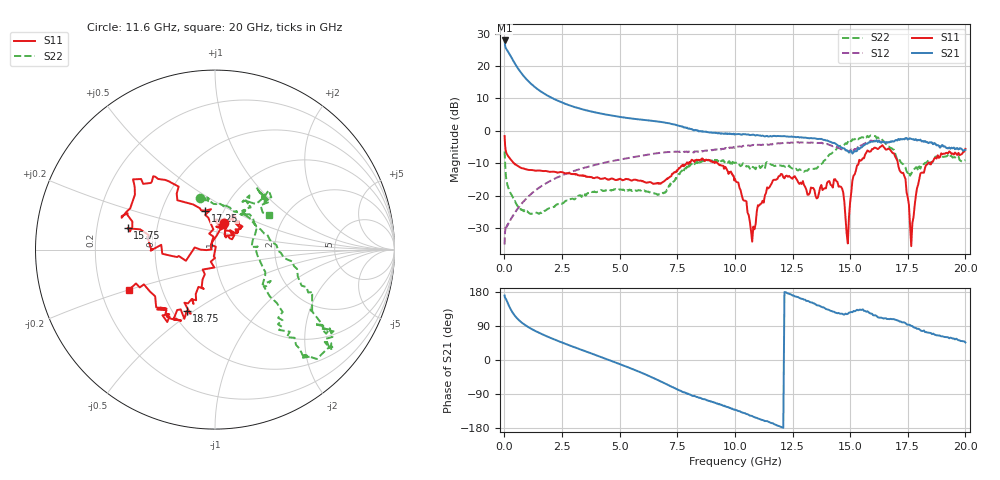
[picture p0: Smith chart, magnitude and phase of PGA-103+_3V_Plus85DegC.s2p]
!Mini-Circuits Laboratory
!S-Parameters, Port extension performed
!Model: PGA-103+
!Run / Lot / Date Code: N/A / BP170-001-01-101EV / 1210
!Fixture: TB-313
!Network Analyzer: PNA-X N5242A - 423 4 ports;  Serial number: 71013
!Date: 5/23/2012 at 10:40:37 AM
!S/N: Unit# 1
!Tested with: VDD=3V AT +85C
# Hz  S  dB  R  50
!Frequency  S11 dB  S11 Deg  S21 dB  S21 Deg  S12 dB  S12 Deg  S22 dB  S22 Deg
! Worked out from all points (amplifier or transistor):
!   660 points, 10 MHz to 20 GHz, reference 50 ohm
!   highest |S21| = 27.9 dB at 10 MHz (marker M1)
!   |S21| within 3 dB of that: start of sweep to 118.4 MHz
!   unconditionally stable (mu >= 1): 311 MHz to 15.21 GHz; 16.75 GHz to end of sweep
!   at 1.275 GHz: K = 1.10, MAG = 14.4 dB, |S12| = -18.8 dB
!   at 6.775 GHz: K = 1.07, MAG = 3.2 dB, |S12| = -6.7 dB
!   at 20 GHz: K = 1.50, MAG = -4.1 dB, |S12| = -5.9 dB
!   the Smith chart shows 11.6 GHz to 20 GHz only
!   S11 on the Smith chart (normalised r, x): 11.6 GHz: 1.05, +0.32; 15.75 GHz: 0.34, +0.11; 17.25 GHz: 0.82, +0.37; 18.75 GHz: 0.59, -0.47; 20 GHz: 0.32, -0.20
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1e7  -1.57 -17.3  27.88 170.0  -35.01 70.3  -6.31 -22.1
5e7  -5.65 -32.0  25.74 162.8  -29.50 28.1  -12.43 -43.3
7e7  -6.41 -33.4  25.39 160.9  -29.75 24.3  -14.09 -42.9
2e8  -8.11 -57.7  23.95 142.7  -28.30 31.3  -18.10 -45.4
3.4e8  -9.38 -81.8  22.20 126.8  -26.56 39.4  -20.11 -53.1
5.2e8  -10.50 -106.5  20.02 112.0  -24.49 45.8  -22.61 -55.7
7.6e8  -11.50 -130.1  17.59 98.3  -22.32 49.9  -24.32 -63.4
1.125e9  -12.03 -152.2  14.74 83.7  -19.66 51.0  -25.57 -65.9
1.7e9  -12.38 -174.1  11.61 66.3  -16.61 47.3  -24.96 -78.1
3.35e9  -13.81 150.0  6.69 26.5  -11.63 24.7  -20.35 -95.4
6.675e9  -16.26 58.6  2.88 -53.4  -6.82 -42.4  -19.53 173.1
1.005e10  -15.68 -74.4  -1.01 -132.2  -4.98 -121.7  -9.84 74.4
1.075e10  -34.13 -9.6  -1.19 -147.8  -4.38 -138.5  -11.07 88.5
1.16e10  -16.13 71.4  -1.73 -166.6  -4.21 -158.6  -10.48 105.9
1.335e10  -17.57 49.1  -2.29 151.8  -3.61 158.3  -11.66 42.5
1.49e10  -34.67 176.1  -6.24 121.6  -6.14 132.1  -3.44 -33.4
1.575e10  -6.00 166.2  -3.95 128.5  -3.55 129.3  -1.52 -40.7
1.67e10  -5.60 129.3  -3.51 107.8  -3.45 107.6  -4.88 -49.1
1.725e10  -13.00 104.4  -2.63 99.2  -2.65 99.2  -10.04 -27.4
1.77e10  -28.38 -100.0  -2.55 89.5  -2.54 89.2  -12.38 21.2
1.875e10  -8.50 -114.8  -4.46 65.0  -4.44 65.0  -7.91 45.9
2e10  -5.54 -155.0  -5.83 46.3  -5.92 46.0  -8.98 32.8
